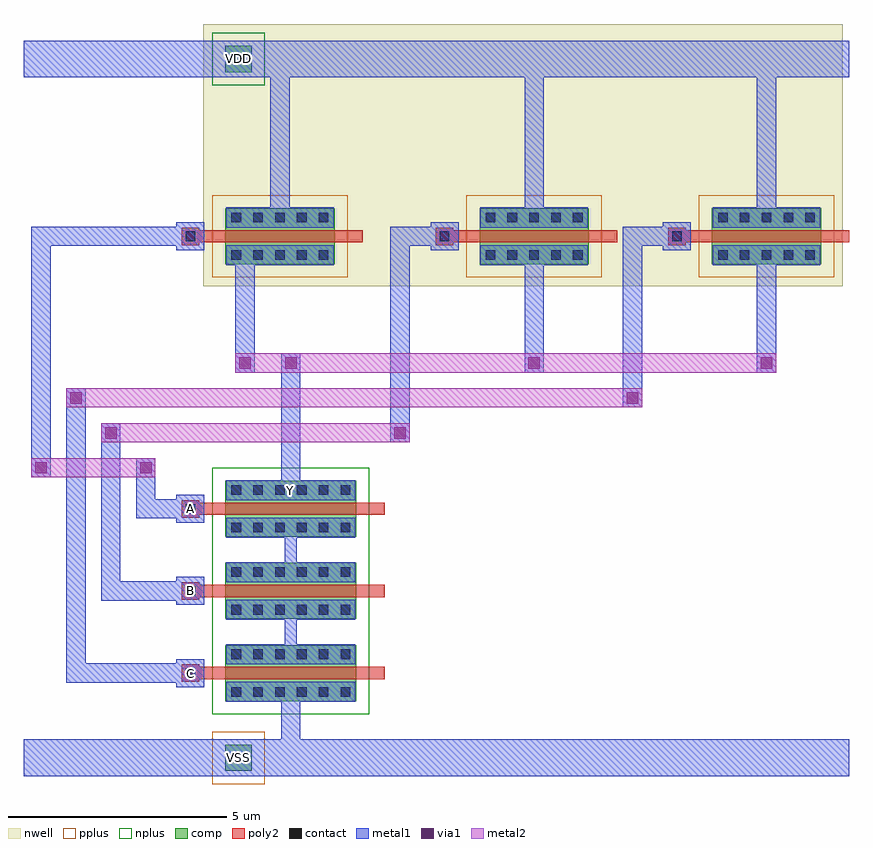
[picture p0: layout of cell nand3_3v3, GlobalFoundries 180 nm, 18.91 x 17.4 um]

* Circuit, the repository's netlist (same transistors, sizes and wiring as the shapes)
* Extracted by KLayout with GF180MCU LVS runset on : 09/09/2026 01:18

.SUBCKT nand3_3v3 VSS C B A Y VDD
M$1 VDD C Y VDD pfet_03v3 L=0.28U W=2.5U AS=1.25P AD=1.25P PS=6U PD=6U
M$2 VDD B Y VDD pfet_03v3 L=0.28U W=2.5U AS=1.25P AD=1.25P PS=6U PD=6U
M$3 VDD A Y VDD pfet_03v3 L=0.28U W=2.5U AS=1.25P AD=1.25P PS=6U PD=6U
M$4 Y A \$7 VSS nfet_03v3 L=0.28U W=3U AS=1.5P AD=1.5P PS=7U PD=7U
M$5 \$7 B \$4 VSS nfet_03v3 L=0.28U W=3U AS=1.5P AD=1.5P PS=7U PD=7U
M$6 \$4 C VSS VSS nfet_03v3 L=0.28U W=3U AS=1.5P AD=1.5P PS=7U PD=7U
.ENDS nand3_3v3

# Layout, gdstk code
import gdstk
lib = gdstk.Library(unit=1e-6, precision=1e-09)
def R(c, l, rs):  # rectangles x0, y0, x1, y1
    for r in rs: c.add(gdstk.rectangle(r[:2], r[2:], *l))
def A(c, l, x, y, w, h, nx, ny, dx, dy):  # array of equal rectangles
    R(c, l, [(x+i*dx, y+j*dy, x+i*dx+w, y+j*dy+h) for i in range(nx) for j in range(ny)])
nwell = (21, 0)
comp = (22, 0)
poly2 = (30, 0)
pplus = (31, 0)
nplus = (32, 0)
contact = (33, 0)
metal1 = (34, 0)
via1 = (35, 0)
metal2 = (36, 0)

nand3_3v3 = lib.new_cell('nand3_3v3')
R(nand3_3v3, nwell, [(4.12,9.5,18.76,15.5)])
A(nand3_3v3, comp, 4.62, 0, 3, 1.28, 1, 3, 0, 1.88)
R(nand3_3v3, comp, [(4.62,-1.6,5.22,-1), (4.62,10,7.12,11.28), (10.44,10,12.94,11.28), (15.76,10,18.26,11.28), (4.62,14.4,5.22,15)])
A(nand3_3v3, poly2, 3.62, 0.44, 0.4, 0.4, 1, 3, 0, 1.88)
A(nand3_3v3, poly2, 3.97, 0.5, 4.3, 0.28, 1, 3, 0, 1.88)
R(nand3_3v3, poly2, [(3.62,10.44,4.02,10.84), (9.44,10.44,9.84,10.84), (14.76,10.44,15.16,10.84), (3.97,10.5,7.77,10.78), (9.79,10.5,13.59,10.78), (15.11,10.5,18.91,10.78)])
R(nand3_3v3, pplus, [(4.32,-1.9,5.52,-0.7), (4.32,9.7,7.42,11.58), (10.14,9.7,13.24,11.58), (15.46,9.7,18.56,11.58)])
A(nand3_3v3, nplus, 4.32, -0.3, 3.6, 1.88, 1, 3, 0, 1.88)
R(nand3_3v3, nplus, [(4.32,14.1,5.52,15.3)])
A(nand3_3v3, contact, 4.76, 0.1, 0.22, 0.22, 6, 2, 0.5, 0.86)
A(nand3_3v3, contact, 3.71, 0.53, 0.22, 0.22, 1, 3, 0, 1.88)
A(nand3_3v3, contact, 4.76, 1.98, 0.22, 0.22, 6, 2, 0.5, 0.86)
A(nand3_3v3, contact, 4.76, 3.86, 0.22, 0.22, 6, 2, 0.5, 0.86)
A(nand3_3v3, contact, 4.76, 10.1, 0.22, 0.22, 5, 2, 0.5, 0.86)
A(nand3_3v3, contact, 10.58, 10.1, 0.22, 0.22, 5, 2, 0.5, 0.86)
A(nand3_3v3, contact, 15.9, 10.1, 0.22, 0.22, 5, 2, 0.5, 0.86)
R(nand3_3v3, contact, [(4.81,-1.41,5.03,-1.19), (3.71,10.53,3.93,10.75), (9.53,10.53,9.75,10.75), (14.85,10.53,15.07,10.75), (4.81,14.59,5.03,14.81)])
A(nand3_3v3, metal1, 3.5, 0.32, 0.64, 0.64, 1, 3, 0, 1.88)
R(nand3_3v3, metal1, [(0,-1.72,18.91,-0.88), (4.5,-1.72,5.34,-0.88), (5.9,-1.3,6.34,0.44), (4.64,-0.02,7.6,0.44), (0.98,0.42,4.14,0.86), (0.98,0.64,1.42,6.94), (4.64,0.84,7.6,1.3), (5.98,1.3,6.26,1.86), (4.64,1.86,7.6,2.32), (1.78,2.3,4.14,2.74), (1.78,2.52,2.22,6.14), (4.64,2.72,7.6,3.18), (5.98,3.18,6.26,3.74), (4.64,3.74,7.6,4.2), (2.58,4.18,4.14,4.62), (2.58,4.4,3.02,5.34), (4.64,4.6,7.6,5.06), (5.9,4.6,6.34,7.74), (0.18,5.12,0.62,5.56), (2.58,5.12,3.02,5.56), (0.18,5.34,0.62,10.64), (1.78,5.92,2.22,6.36), (8.4,5.92,8.84,6.36), (8.4,6.14,8.84,10.64), (0.98,6.72,1.42,7.16), (13.72,6.72,14.16,7.16), (13.72,6.94,14.16,10.64), (4.85,7.52,5.29,7.96), (5.9,7.52,6.34,7.96), (11.47,7.52,11.91,7.96), (16.79,7.52,17.23,7.96), (4.85,7.74,5.29,10.44), (11.47,7.74,11.91,10.44), (16.79,7.74,17.23,10.44), (4.64,9.98,7.1,10.44), (10.46,9.98,12.92,10.44), (15.78,9.98,18.24,10.44), (3.5,10.32,4.14,10.96), (9.32,10.32,9.96,10.96), (14.64,10.32,15.28,10.96), (0.18,10.42,4.14,10.86), (8.4,10.42,9.96,10.86), (13.72,10.42,15.28,10.86), (4.64,10.84,7.1,11.3), (5.65,10.84,6.09,14.7), (10.46,10.84,12.92,11.3), (11.47,10.84,11.91,14.7), (15.78,10.84,18.24,11.3), (16.79,10.84,17.23,14.7), (0,14.28,18.91,15.12), (4.5,14.28,5.34,15.12)])
R(nand3_3v3, via1, [(0.27,5.21,0.53,5.47), (2.67,5.21,2.93,5.47), (1.87,6.01,2.13,6.27), (8.49,6.01,8.75,6.27), (1.07,6.81,1.33,7.07), (13.81,6.81,14.07,7.07), (4.94,7.61,5.2,7.87), (5.99,7.61,6.25,7.87), (11.56,7.61,11.82,7.87), (16.88,7.61,17.14,7.87)])
R(nand3_3v3, metal2, [(0.18,5.12,0.62,5.56), (0.18,5.12,3.02,5.56), (2.58,5.12,3.02,5.56), (1.78,5.92,2.22,6.36), (1.78,5.92,8.84,6.36), (8.4,5.92,8.84,6.36), (0.98,6.72,1.42,7.16), (0.98,6.72,14.16,7.16), (13.72,6.72,14.16,7.16), (4.85,7.52,5.29,7.96), (4.85,7.52,17.23,7.96), (5.9,7.52,6.34,7.96), (11.47,7.52,11.91,7.96), (16.79,7.52,17.23,7.96)])
nand3_3v3.add(gdstk.Label('A', (3.82,4.4), layer=34, texttype=10))
nand3_3v3.add(gdstk.Label('B', (3.82,2.52), layer=34, texttype=10))
nand3_3v3.add(gdstk.Label('C', (3.82,0.64), layer=34, texttype=10))
nand3_3v3.add(gdstk.Label('Y', (6.12,4.83), layer=34, texttype=10))
nand3_3v3.add(gdstk.Label('VSS', (4.92,-1.3), layer=34, texttype=10))
nand3_3v3.add(gdstk.Label('VDD', (4.92,14.7), layer=34, texttype=10))

lib.write_gds('nand3_3v3.gds')
